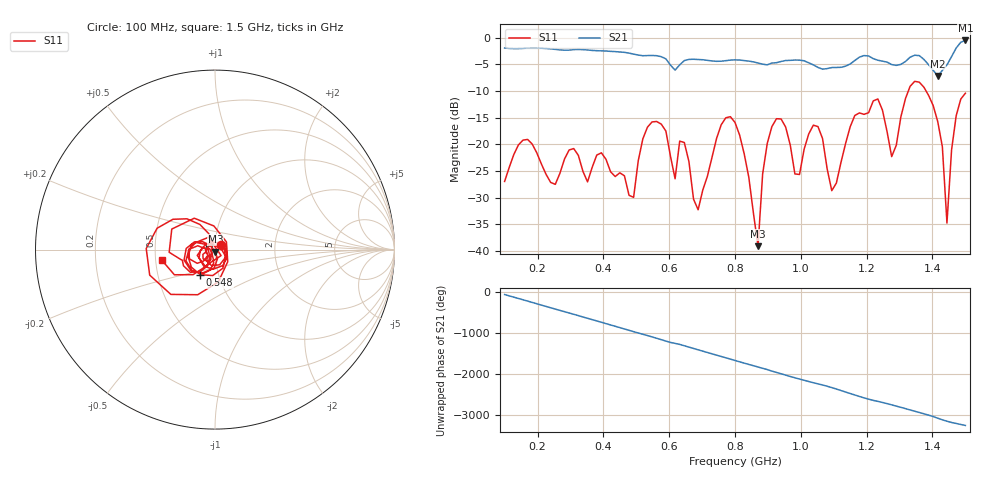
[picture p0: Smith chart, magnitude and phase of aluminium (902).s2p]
! NanoVNA-App
! Date: 2025-09-25 15:02:18
! Start: 100MHz Stop: 1,5GHz Points: 101
! S-Parameter data: F S11 S21 S12 S22
# Hz S RI R 50
!  Frequency  S11_Real  S11_Imag  S21_Real  S21_Imag  S12_Real  S12_Imag  S22_Real  S22_Imag
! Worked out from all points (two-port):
!   101 points, 100 MHz to 1.5 GHz, reference 50 ohm
!   highest |S21| = -0.50 dB at 1.5 GHz (marker M1); lowest = -7.1 dB at 1.416 GHz (marker M2)
!   |S21| within 3 dB of the highest: start of sweep to 572.4 MHz; 1.458 GHz to end of sweep (the widest 2 of 4)
!   lowest |S11| = -39.1 dB at 870 MHz (marker M3), VSWR 1.02, Z = 50.2 - j1.1 ohm
!   |S11| at or under -10 dB: start of sweep to 1.327 GHz; 1.381 GHz to end of sweep
!   S12 and S22 are empty: the file has one direction only
!   S11 on the Smith chart (normalised r, x): 100 MHz: 1.07, +0.06; 548 MHz: 0.82, -0.24; 1.5 GHz: 0.54, -0.07
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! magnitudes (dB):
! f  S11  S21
! 100 MHz  -27.0  -1.9
! 170 MHz  -19.1  -1.9
! 338 MHz  -25.1  -2.2
! 492 MHz  -29.9  -3.1
! 548 MHz  -15.8  -3.3
! 576 MHz  -16.2  -3.5
! 618 MHz  -26.5  -6.1
! 646 MHz  -19.7  -4.3
! 688 MHz  -32.3  -4.1
! 800 MHz  -15.9  -4.1
! 870 MHz  -39.1  -4.7
! 912 MHz  -16.7  -4.7
! 996 MHz  -25.6  -4.2
! 1.038 GHz  -16.4  -5.1
! 1.094 GHz  -28.7  -5.6
! 1.22 GHz  -11.8  -3.9
! 1.276 GHz  -22.3  -5.0
! 1.346 GHz  -8.2  -3.3
! 1.416 GHz  -15.7  -7.1
! 1.444 GHz  -34.8  -5.1
! 1.472 GHz  -14.6  -1.9
! 1.5 GHz  -10.4  -0.5
